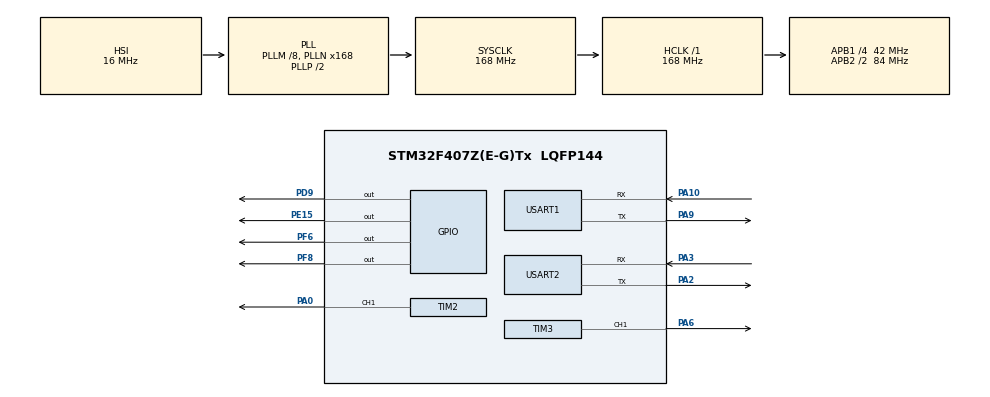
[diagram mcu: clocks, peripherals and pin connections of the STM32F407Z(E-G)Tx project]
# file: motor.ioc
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Mcu.Family=STM32F4
Mcu.Name=STM32F407Z(E-G)Tx
Mcu.Package=LQFP144
NVIC.PriorityGroup=NVIC_PRIORITYGROUP_4
NVIC.TIM2_IRQn=true\:1\:0\:true\:false\:true\:true\:true\:true
NVIC.TIM3_IRQn=true\:2\:0\:true\:false\:true\:true\:true\:true
NVIC.USART1_IRQn=true\:0\:0\:false\:false\:true\:true\:true\:true
NVIC.USART2_IRQn=true\:0\:0\:false\:false\:true\:true\:true\:true
PA0-WKUP.Signal=S_TIM2_CH1_ETR
PA10.Mode=Asynchronous
PA10.Signal=USART1_RX
PA13.Mode=Serial_Wire
PA13.Signal=SYS_JTMS-SWDIO
PA14.Mode=Serial_Wire
PA14.Signal=SYS_JTCK-SWCLK
PA2.Mode=Asynchronous
PA2.Signal=USART2_TX
PA3.Mode=Asynchronous
PA3.Signal=USART2_RX
PA6.Signal=S_TIM3_CH1
PA9.Mode=Asynchronous
PA9.Signal=USART1_TX
PC14-OSC32_IN.Mode=LSE-External-Oscillator
PC14-OSC32_IN.Signal=RCC_OSC32_IN
PC15-OSC32_OUT.Mode=LSE-External-Oscillator
PC15-OSC32_OUT.Signal=RCC_OSC32_OUT
PD9.PinState=GPIO_PIN_SET
PD9.Signal=GPIO_Output
PE15.PinState=GPIO_PIN_SET
PE15.Signal=GPIO_Output
PF6.PinState=GPIO_PIN_SET
PF6.Signal=GPIO_Output
PF8.PinState=GPIO_PIN_SET
PF8.Signal=GPIO_Output
PH0-OSC_IN.Mode=HSE-External-Oscillator
PH0-OSC_IN.Signal=RCC_OSC_IN
PH1-OSC_OUT.Mode=HSE-External-Oscillator
PH1-OSC_OUT.Signal=RCC_OSC_OUT
ProjectManager.HeapSize=0x200
ProjectManager.StackSize=0x400
ProjectManager.TargetToolchain=MDK-ARM V5.32
RCC.48MHZClocksFreq_Value=84000000
RCC.AHBFreq_Value=168000000
RCC.APB1CLKDivider=RCC_HCLK_DIV4
RCC.APB1Freq_Value=42000000
RCC.APB1TimFreq_Value=84000000
RCC.APB2CLKDivider=RCC_HCLK_DIV2
RCC.APB2Freq_Value=84000000
RCC.APB2TimFreq_Value=168000000
RCC.CortexFreq_Value=168000000
RCC.HCLKFreq_Value=168000000
RCC.HSE_VALUE=25000000
RCC.HSI_VALUE=16000000
RCC.PLLM=8
RCC.PLLN=168
RCC.SYSCLKFreq_VALUE=168000000
RCC.SYSCLKSource=RCC_SYSCLKSOURCE_PLLCLK
RCC.VCOOutputFreq_Value=336000000
SH.S_TIM2_CH1_ETR.0=TIM2_CH1,PWM Generation1 CH1
SH.S_TIM3_CH1.0=TIM3_CH1,PWM Generation1 CH1
TIM2.Channel-PWM\ Generation1\ CH1=TIM_CHANNEL_1
TIM2.Period=999
TIM2.Prescaler=83
TIM2.Pulse-PWM\ Generation1\ CH1=500
TIM3.Channel-PWM\ Generation1\ CH1=TIM_CHANNEL_1
TIM3.Period=3999
TIM3.Prescaler=15
TIM3.Pulse-PWM\ Generation1\ CH1=500
USART1.VirtualMode=VM_ASYNC
USART2.VirtualMode=VM_ASYNC
VP_TIM2_VS_ClockSourceINT.Mode=Internal
VP_TIM3_VS_ClockSourceINT.Mode=Internal
board=custom

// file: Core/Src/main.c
/* USER CODE BEGIN Header */
/**
  ******************************************************************************
  * @file           : main.c
  * @brief          : Main program body
  ******************************************************************************
  * @attention
  *
  * Copyright (c) 2025 STMicroelectronics.
  * All rights reserved.
  *
  * This software is licensed under terms that can be found in the LICENSE file
  * in the root directory of this software component.
  * If no LICENSE file comes with this software, it is provided AS-IS.
  *
  ******************************************************************************
  */
/* USER CODE END Header */
#include "main.h"
#include "tim.h"
#include "usart.h"
#include "gpio.h"

/* USER CODE BEGIN Includes */
#include "math.h"
#include "string.h"
#include "stdio.h"
/* USER CODE END Includes */

/* USER CODE BEGIN PTD */
#define MOTOR_STEP_ANGLE     1.8f  //步距角
#define MOTOR_STEPS_PER_REV  200   //一圈200步
#define DRIVER_MICROSTEPS    16
#define ANGLE_PER_STEP       (360.0f / (MOTOR_STEPS_PER_REV * DRIVER_MICROSTEPS))
/* 限位 */
#define UP_MAX 90
#define UP_MIN -90
#define DOWN_MAX 90
#define DOWN_MIN -90
/* USER CODE END PTD */

/* USER CODE BEGIN PV */

//全局变量，用于计算步进电机转向角度所需的脉冲
volatile uint32_t pulses_remaining1 = 0;
volatile uint32_t pulses_remaining2 = 0;
/* USER CODE END PV */

void SystemClock_Config(void);

/* USER CODE BEGIN 0 */

int fputc(int ch, FILE *f)
{
	uint8_t temp[1] = {ch};
	HAL_UART_Transmit(
        &huart1 // 自定义串口号
    , temp, 1, 2);
	return ch;
}

// 全局变量定义
#define RX_BUFFER_SIZE 128  //缓冲区数组长度
uint8_t USART_Rx_BUFFER[RX_BUFFER_SIZE + 1]; // 接收缓冲区（+1为字符串终止符）
volatile uint16_t USART_LEN = 0;            // 有效数据长度
volatile uint8_t UartRxComplete = 0;        // 接收完成标志

/***********************************************************************
控制步进电机转动角度的函数
相关参数：
				angle浮点型角度值
				方向         GPIO_PIN_RESET逆时针，GPIO_PIN_SET顺时针。
**************************************************************************/

void HAL_TIM_PeriodElapsedCallback(TIM_HandleTypeDef *htim) {
    if (htim->Instance == TIM2 && pulses_remaining1 > 0) {
        pulses_remaining1--;
        if (pulses_remaining1 == 0) {
            __HAL_TIM_DISABLE_IT(&htim2, TIM_IT_UPDATE);
            HAL_TIM_PWM_Stop(&htim2, TIM_CHANNEL_1);
        }
    } else if (htim->Instance == TIM3 && pulses_remaining2 > 0) {
        pulses_remaining2--;
        if (pulses_remaining2 == 0) {
            __HAL_TIM_DISABLE_IT(&htim3, TIM_IT_UPDATE);
            HAL_TIM_PWM_Stop(&htim3, TIM_CHANNEL_1);
        }
    }
}

float absoluteAnglesUp = 0, // 上电机绝对角度
	absoluteAnglesDown = 0; // 下电机绝对角度

void Stepper_Rotate_up(float delta_target_angle, GPIO_PinState direction) {
		// 限位
		if(direction && (absoluteAnglesUp + delta_target_angle > UP_MAX))
		{ // 正转
				return;
		} else if (!direction && (absoluteAnglesUp - delta_target_angle < UP_MIN)) { // 反转
			return;
		}

		absoluteAnglesUp += delta_target_angle * (direction ? 1:-1);

    if (pulses_remaining1 > 0) {
        __HAL_TIM_DISABLE_IT(&htim2, TIM_IT_UPDATE);
        HAL_TIM_PWM_Stop(&htim2, TIM_CHANNEL_1);
        pulses_remaining1 = 0;
    }
    uint32_t total_pulses1 = (uint32_t)(fabs(delta_target_angle) / ANGLE_PER_STEP + 0.5f);
    HAL_GPIO_WritePin(GPIOF, GPIO_PIN_8, direction);
    pulses_remaining1 = total_pulses1;
    HAL_TIM_PWM_Start(&htim2, TIM_CHANNEL_1);
    __HAL_TIM_SET_COUNTER(&htim2, 0);
    __HAL_TIM_ENABLE_IT(&htim2, TIM_IT_UPDATE);
}

void Stepper_Rotate_down(float delta_target_angle, GPIO_PinState direction) {

		// 限位
		if(direction && (absoluteAnglesDown + delta_target_angle > DOWN_MAX))
		{ // 正转
				return;
		} else if (!direction && (absoluteAnglesDown - delta_target_angle < DOWN_MIN)) { // 反转
			return;
		}

		absoluteAnglesDown += delta_target_angle * (direction ? 1:-1);

    if (pulses_remaining2 > 0) {
        __HAL_TIM_DISABLE_IT(&htim3, TIM_IT_UPDATE);
        HAL_TIM_PWM_Stop(&htim3, TIM_CHANNEL_1);
        pulses_remaining2 = 0;
    }
    uint32_t total_pulses2 = (uint32_t)(fabs(delta_target_angle) / ANGLE_PER_STEP + 0.5f);
    HAL_GPIO_WritePin(GPIOD, GPIO_PIN_9, direction);
    pulses_remaining2 = total_pulses2;
    HAL_TIM_PWM_Start(&htim3, TIM_CHANNEL_1);
    __HAL_TIM_SET_COUNTER(&htim3, 0);
    __HAL_TIM_ENABLE_IT(&htim3, TIM_IT_UPDATE);
}

// 数据处理函数。用于摄像头一识别靶环，并传输靶环坐标数据
#if 0
void MAIXCAM_GetData(void)
{
    if (UartRxComplete) {
        float delta_x = 0;
        float delta_y = 0;

        /* 添加字符串终止符 */
        USART_Rx_BUFFER[USART_LEN] = '\0';
        /* 解析指令（示例）*/
        if (USART_Rx_BUFFER[0] == '@' && USART_Rx_BUFFER[1] == 'x') {
            delta_x = strtod((char*)&USART_Rx_BUFFER[2], NULL);
					  Stepper_Rotate_up(delta_x, GPIO_PIN_RESET);
        }
        else if (USART_Rx_BUFFER[0] == '@' && USART_Rx_BUFFER[1] == 'y') {
            delta_y = strtod((char*)&USART_Rx_BUFFER[2], NULL);
					  Stepper_Rotate_up(delta_y, GPIO_PIN_RESET);
        }

        // Motor_Control(delta_x, delta_y);
        /* 重置接收参数 */
        memset(USART_Rx_BUFFER, 0, RX_BUFFER_SIZE+1);
        UartRxComplete = 0;

        /* 重启接收 */
        HAL_UARTEx_ReceiveToIdle_IT(&huart2, USART_Rx_BUFFER, RX_BUFFER_SIZE);
    }
	}
#endif

uint8_t rx[3];

//串口中断回调函数
void HAL_UART_RxCpltCallback(UART_HandleTypeDef *huart)
{
	if(huart == &huart1)
	{

	}
	HAL_UART_Receive_IT(huart,rx,3);
}

/* USER CODE END 0 */

int main(void)
{

  /* MCU Configuration--------------------------------------------------------*/

  /* Reset of all peripherals, Initializes the Flash interface and the Systick. */
  HAL_Init();

  /* Configure the system clock */
  SystemClock_Config();

  /* Initialize all configured peripherals */
  MX_GPIO_Init();
  MX_TIM2_Init();
  MX_TIM3_Init();
  MX_USART2_UART_Init();
  MX_USART1_UART_Init();
  /* USER CODE BEGIN 2 */
    HAL_TIM_PWM_Start(&htim2, TIM_CHANNEL_1);
    HAL_TIM_PWM_Start(&htim3, TIM_CHANNEL_1);

//电机初始化，不进行初始化会导致电机一直旋转

	HAL_UART_Receive_IT(&huart1,rx,3);

	// 初始化防止乱动
	Stepper_Rotate_up(1, GPIO_PIN_RESET);
	Stepper_Rotate_up(1, GPIO_PIN_SET);
	Stepper_Rotate_down(1, GPIO_PIN_RESET);
	Stepper_Rotate_down(1, GPIO_PIN_SET);

	// 实验
   Stepper_Rotate_up(45, GPIO_PIN_RESET);
	 HAL_Delay(500);
	 Stepper_Rotate_up(45, GPIO_PIN_RESET);
	 HAL_Delay(500);
	 Stepper_Rotate_up(45, GPIO_PIN_RESET);

	 Stepper_Rotate_down(45, GPIO_PIN_RESET);
	 HAL_Delay(500);
	 Stepper_Rotate_down(45, GPIO_PIN_RESET);
	 HAL_Delay(500);
	 Stepper_Rotate_down(45, GPIO_PIN_RESET);

  /* USER CODE END 2 */

  /* Infinite loop */
  while (1)
  {

  }
}

void SystemClock_Config(void)
{
  RCC_OscInitTypeDef RCC_OscInitStruct = {0};
  RCC_ClkInitTypeDef RCC_ClkInitStruct = {0};

  /** Configure the main internal regulator output voltage
  */
  __HAL_RCC_PWR_CLK_ENABLE();
  __HAL_PWR_VOLTAGESCALING_CONFIG(PWR_REGULATOR_VOLTAGE_SCALE1);

  /** Initializes the RCC Oscillators according to the specified parameters
  * in the RCC_OscInitTypeDef structure.
  */
  RCC_OscInitStruct.OscillatorType = RCC_OSCILLATORTYPE_HSI;
  RCC_OscInitStruct.HSIState = RCC_HSI_ON;
  RCC_OscInitStruct.HSICalibrationValue = RCC_HSICALIBRATION_DEFAULT;
  RCC_OscInitStruct.PLL.PLLState = RCC_PLL_ON;
  RCC_OscInitStruct.PLL.PLLSource = RCC_PLLSOURCE_HSI;
  RCC_OscInitStruct.PLL.PLLM = 8;
  RCC_OscInitStruct.PLL.PLLN = 168;
  RCC_OscInitStruct.PLL.PLLP = RCC_PLLP_DIV2;
  RCC_OscInitStruct.PLL.PLLQ = 4;
  if (HAL_RCC_OscConfig(&RCC_OscInitStruct) != HAL_OK)
  {
    Error_Handler();
  }

  /** Initializes the CPU, AHB and APB buses clocks
  */
  RCC_ClkInitStruct.ClockType = RCC_CLOCKTYPE_HCLK|RCC_CLOCKTYPE_SYSCLK
                              |RCC_CLOCKTYPE_PCLK1|RCC_CLOCKTYPE_PCLK2;
  RCC_ClkInitStruct.SYSCLKSource = RCC_SYSCLKSOURCE_PLLCLK;
  RCC_ClkInitStruct.AHBCLKDivider = RCC_SYSCLK_DIV1;
  RCC_ClkInitStruct.APB1CLKDivider = RCC_HCLK_DIV4;
  RCC_ClkInitStruct.APB2CLKDivider = RCC_HCLK_DIV2;

  if (HAL_RCC_ClockConfig(&RCC_ClkInitStruct, FLASH_LATENCY_5) != HAL_OK)
  {
    Error_Handler();
  }
}

void Error_Handler(void)
{
  __disable_irq();
  while (1)
  {
  }
}
